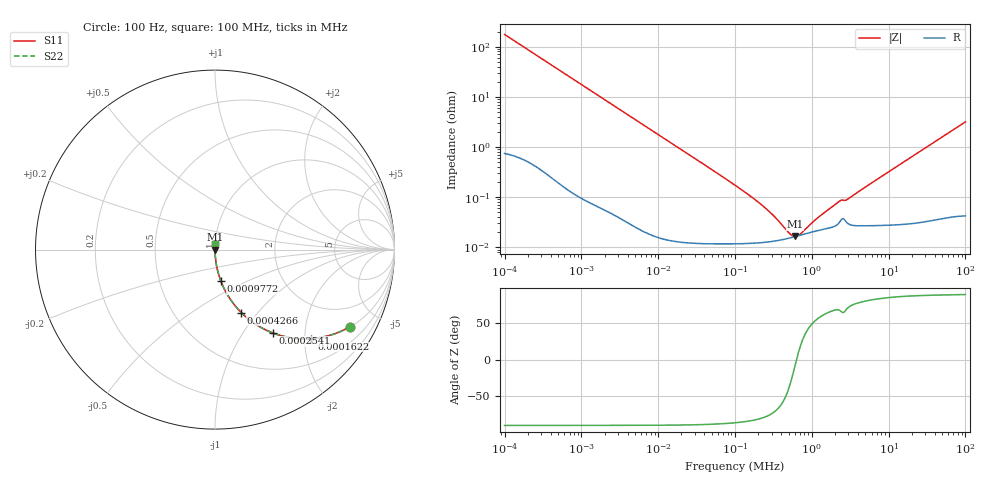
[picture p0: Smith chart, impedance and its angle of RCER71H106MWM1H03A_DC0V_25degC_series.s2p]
!Murata Part Number: RCER71H106MWM1H03A
!These Parameters are Measured in Series Mode Connection
!  o--ll--o
!Port1  Port2
!  o------o
!Operation Temp=25[degC], DC Bias Voltage=0[V]
!Freq. Start=100[Hz] Stop=100[MHz], 401[Steps]
!Data Generated on May 18, 2023
# Hz S RI R 50
!Freq.(Hz) S11(Real) S11(Imag) S21(Real) S21(Imag) S12(Real) S12(Imag) S22(Real) S22(Imag)
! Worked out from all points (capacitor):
!   401 points, 100 Hz to 100 MHz, reference 50 ohm
!   read as one part in series: C = 9.11 uF near 107.2 Hz
!   lowest |Z| = 16.4 mohm at 602.6 kHz (marker M1)
!   series resonance near 632.2 kHz, so ESL is about 7 nH
!   S11 on the Smith chart (normalised r, x): 100 Hz: 1.01, -3.49; 162.2 Hz: 1.01, -2.16; 254.1 Hz: 1.01, -1.38; 426.6 Hz: 1.00, -0.82; 977.2 Hz: 1.00, -0.36; 100 MHz: 1.00, +0.06
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100  0.7519 -0.4298  0.2481 0.4298  0.2481 0.4298  0.7519 -0.4298
162.181  0.5374 -0.4959  0.4626 0.4959  0.4626 0.4959  0.5374 -0.4959
254.0973  0.3234 -0.4648  0.6766 0.4648  0.6766 0.4648  0.3234 -0.4648
426.5795  0.1464 -0.3507  0.8536 0.3507  0.8536 0.3507  0.1464 -0.3507
623.7348  0.0748 -0.2605  0.9252 0.2605  0.9252 0.2605  0.0748 -0.2605
977.2372  0.0323 -0.1742  0.9677 0.1742  0.9677 0.1742  0.0323 -0.1742
1011.579  0.0303 -0.1686  0.9697 0.1686  0.9697 0.1686  0.0303 -0.1686
2660.725  0.00482 -0.066  0.9952 0.066  0.9952 0.066  0.00482 -0.066
10232.93  0.000454 -0.0173  0.9995 0.0173  0.9995 0.0173  0.000454 -0.0173
100000  0.00012 -0.00172  0.9999 0.00172  0.9999 0.00172  0.00012 -0.00172
237137.4  0.000125 -0.000632  0.9999 0.000632  0.9999 0.000632  0.000125 -0.000632
334965.4  0.000134 -0.000369  0.9999 0.000369  0.9999 0.000369  0.000134 -0.000369
506990.7  0.000152 -0.000117  0.9998 0.000117  0.9998 0.000117  0.000152 -0.000117
562341.3  0.000158 -6.11e-05  0.9998 6.11e-05  0.9998 6.11e-05  0.000158 -6.11e-05
602559.6  0.000163 -2.48e-05  0.9998 2.48e-05  0.9998 2.48e-05  0.000163 -2.48e-05
645654.2  0.000167 1.09e-05  0.9998 -1.09e-05  0.9998 -1.09e-05  0.000167 1.09e-05
716143.4  0.000175 6.34e-05  0.9998 -6.34e-05  0.9998 -6.34e-05  0.000175 6.34e-05
1011579  0.000202 0.000236  0.9998 -0.000236  0.9998 -0.000236  0.000202 0.000236
2238721  0.000301 0.000748  0.9997 -0.000748  0.9997 -0.000748  0.000301 0.000748
2951209  0.000297 0.000865  0.9997 -0.000865  0.9997 -0.000865  0.000297 0.000865
1.023293e7  0.000286 0.00325  0.9997 -0.00325  0.9997 -0.00325  0.000286 0.00325
1e8  0.00141 0.0315  0.9986 -0.0315  0.9986 -0.0315  0.00141 0.0315
